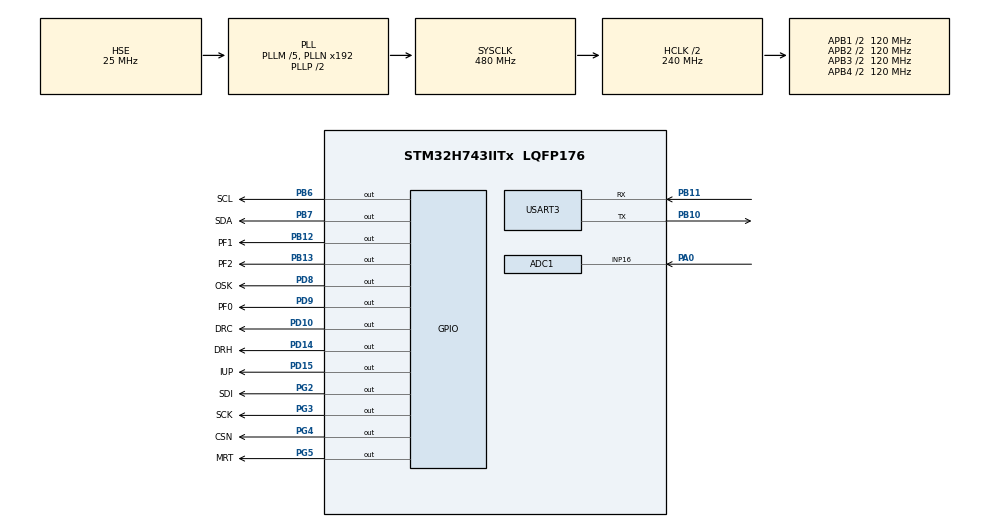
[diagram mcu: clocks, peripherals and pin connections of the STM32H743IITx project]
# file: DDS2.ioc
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ADC1.Channel-1\#ChannelRegularConversion=ADC_CHANNEL_16
ADC1.ConversionDataManagement=ADC_CONVERSIONDATA_DMA_ONESHOT
ADC1.ExternalTrigConv=ADC_EXTERNALTRIG_T3_TRGO
ADC1.NbrOfConversionFlag=1
ADC1.OffsetNumber-1\#ChannelRegularConversion=ADC_OFFSET_NONE
ADC1.OffsetSignedSaturation-1\#ChannelRegularConversion=DISABLE
ADC1.Rank-1\#ChannelRegularConversion=1
ADC1.SamplingTime-1\#ChannelRegularConversion=ADC_SAMPLETIME_1CYCLE_5
ADC1.master=1
Dma.ADC1.1.Direction=DMA_PERIPH_TO_MEMORY
Dma.ADC1.1.EventEnable=DISABLE
Dma.ADC1.1.FIFOMode=DMA_FIFOMODE_DISABLE
Dma.ADC1.1.Instance=DMA1_Stream1
Dma.ADC1.1.MemDataAlignment=DMA_MDATAALIGN_HALFWORD
Dma.ADC1.1.MemInc=DMA_MINC_ENABLE
Dma.ADC1.1.Mode=DMA_NORMAL
Dma.ADC1.1.PeriphDataAlignment=DMA_PDATAALIGN_HALFWORD
Dma.ADC1.1.PeriphInc=DMA_PINC_DISABLE
Dma.ADC1.1.Polarity=HAL_DMAMUX_REQ_GEN_RISING
Dma.ADC1.1.Priority=DMA_PRIORITY_LOW
Dma.ADC1.1.RequestNumber=1
Dma.ADC1.1.SignalID=NONE
Dma.ADC1.1.SyncEnable=DISABLE
Dma.ADC1.1.SyncPolarity=HAL_DMAMUX_SYNC_NO_EVENT
Dma.ADC1.1.SyncRequestNumber=1
Dma.ADC1.1.SyncSignalID=NONE
Dma.Request0=USART3_RX
Dma.Request1=ADC1
Dma.USART3_RX.0.Direction=DMA_PERIPH_TO_MEMORY
Dma.USART3_RX.0.EventEnable=DISABLE
Dma.USART3_RX.0.FIFOMode=DMA_FIFOMODE_DISABLE
Dma.USART3_RX.0.Instance=DMA1_Stream0
Dma.USART3_RX.0.MemDataAlignment=DMA_MDATAALIGN_BYTE
Dma.USART3_RX.0.MemInc=DMA_MINC_ENABLE
Dma.USART3_RX.0.Mode=DMA_NORMAL
Dma.USART3_RX.0.PeriphDataAlignment=DMA_PDATAALIGN_BYTE
Dma.USART3_RX.0.PeriphInc=DMA_PINC_DISABLE
Dma.USART3_RX.0.Polarity=HAL_DMAMUX_REQ_GEN_RISING
Dma.USART3_RX.0.Priority=DMA_PRIORITY_LOW
Dma.USART3_RX.0.RequestNumber=1
Dma.USART3_RX.0.SignalID=NONE
Dma.USART3_RX.0.SyncEnable=DISABLE
Dma.USART3_RX.0.SyncPolarity=HAL_DMAMUX_SYNC_NO_EVENT
Dma.USART3_RX.0.SyncRequestNumber=1
Dma.USART3_RX.0.SyncSignalID=NONE
Mcu.Family=STM32H7
Mcu.Name=STM32H743IITx
Mcu.Package=LQFP176
NVIC.DMA1_Stream0_IRQn=true\:0\:0\:false\:false\:true\:false\:true\:true
NVIC.DMA1_Stream1_IRQn=true\:0\:0\:false\:false\:true\:false\:true\:true
NVIC.PriorityGroup=NVIC_PRIORITYGROUP_4
NVIC.USART3_IRQn=true\:0\:0\:false\:false\:true\:true\:true\:true
PA0.Mode=IN16-Single-Ended
PA0.Signal=ADC1_INP16
PA13\ (JTMS/SWDIO).Mode=Serial_Wire
PA13\ (JTMS/SWDIO).Signal=DEBUG_JTMS-SWDIO
PA14\ (JTCK/SWCLK).Mode=Serial_Wire
PA14\ (JTCK/SWCLK).Signal=DEBUG_JTCK-SWCLK
PB10.Mode=Asynchronous
PB10.Signal=USART3_TX
PB11.Mode=Asynchronous
PB11.Signal=USART3_RX
PB12.GPIO_Label=PF1
PB12.GPIO_Speed=GPIO_SPEED_FREQ_HIGH
PB12.Signal=GPIO_Output
PB13.GPIO_Label=PF2
PB13.GPIO_Speed=GPIO_SPEED_FREQ_HIGH
PB13.Signal=GPIO_Output
PB6.GPIO_Label=SCL
PB6.GPIO_ModeDefaultOutputPP=GPIO_MODE_OUTPUT_OD
PB6.GPIO_PuPd=GPIO_NOPULL
PB6.GPIO_Speed=GPIO_SPEED_FREQ_HIGH
PB6.Signal=GPIO_Output
PB7.GPIO_Label=SDA
PB7.GPIO_ModeDefaultOutputPP=GPIO_MODE_OUTPUT_OD
PB7.GPIO_PuPd=GPIO_NOPULL
PB7.GPIO_Speed=GPIO_SPEED_FREQ_HIGH
PB7.Signal=GPIO_Output
PC14-OSC32_IN\ (OSC32_IN).Mode=LSE-External-Oscillator
PC14-OSC32_IN\ (OSC32_IN).Signal=RCC_OSC32_IN
PC15-OSC32_OUT\ (OSC32_OUT).Mode=LSE-External-Oscillator
PC15-OSC32_OUT\ (OSC32_OUT).Signal=RCC_OSC32_OUT
PD10.GPIO_Label=DRC
PD10.GPIO_Speed=GPIO_SPEED_FREQ_HIGH
PD10.Signal=GPIO_Output
PD14.GPIO_Label=DRH
PD14.GPIO_Speed=GPIO_SPEED_FREQ_HIGH
PD14.Signal=GPIO_Output
PD15.GPIO_Label=IUP
PD15.GPIO_Speed=GPIO_SPEED_FREQ_HIGH
PD15.Signal=GPIO_Output
PD8.GPIO_Label=OSK
PD8.GPIO_Speed=GPIO_SPEED_FREQ_HIGH
PD8.Signal=GPIO_Output
PD9.GPIO_Label=PF0
PD9.GPIO_Speed=GPIO_SPEED_FREQ_HIGH
PD9.Signal=GPIO_Output
PG2.GPIO_Label=SDI
PG2.GPIO_Speed=GPIO_SPEED_FREQ_HIGH
PG2.Signal=GPIO_Output
PG3.GPIO_Label=SCK
PG3.GPIO_Speed=GPIO_SPEED_FREQ_HIGH
PG3.Signal=GPIO_Output
PG4.GPIO_Label=CSN
PG4.GPIO_Speed=GPIO_SPEED_FREQ_HIGH
PG4.Signal=GPIO_Output
PG5.GPIO_Label=MRT
PG5.GPIO_Speed=GPIO_SPEED_FREQ_HIGH
PG5.Signal=GPIO_Output
PH0-OSC_IN\ (PH0).Mode=HSE-External-Oscillator
PH0-OSC_IN\ (PH0).Signal=RCC_OSC_IN
PH1-OSC_OUT\ (PH1).Mode=HSE-External-Oscillator
PH1-OSC_OUT\ (PH1).Signal=RCC_OSC_OUT
ProjectManager.HeapSize=0x200
ProjectManager.StackSize=0x400
ProjectManager.TargetToolchain=MDK-ARM V5.32
RCC.ADCFreq_Value=75000000
RCC.APB1Freq_Value=120000000
RCC.APB2Freq_Value=120000000
RCC.APB3Freq_Value=120000000
RCC.APB4Freq_Value=120000000
RCC.CortexFreq_Value=480000000
RCC.D1PPRE=RCC_APB3_DIV2
RCC.D2PPRE1=RCC_APB1_DIV2
RCC.D2PPRE2=RCC_APB2_DIV2
RCC.D3PPRE=RCC_APB4_DIV2
RCC.DIVM1=5
RCC.DIVM2=2
RCC.DIVN1=192
RCC.DIVN2=12
RCC.HCLKFreq_Value=240000000
RCC.HPRE=RCC_HCLK_DIV2
RCC.PLL2FRACN=0
RCC.PLL3FRACN=0
RCC.PLLFRACN=0
RCC.PLLSourceVirtual=RCC_PLLSOURCE_HSE
RCC.SYSCLKFreq_VALUE=480000000
RCC.SYSCLKSource=RCC_SYSCLKSOURCE_PLLCLK
RCC.USBFreq_Value=480000000
TIM3.Period=10000-1
TIM3.TIM_MasterOutputTrigger=TIM_TRGO_UPDATE
USART3.VirtualMode-Asynchronous=VM_ASYNC
VP_MEMORYMAP_VS_MEMORYMAP.Mode=CurAppReg
VP_TIM3_VS_ClockSourceINT.Mode=Internal
board=custom

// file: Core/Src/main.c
/* USER CODE BEGIN Header */
/**
  ******************************************************************************
  * @file           : main.c
  * @brief          : Main program body
  ******************************************************************************
  * @attention
  *
  * Copyright (c) 2025 STMicroelectronics.
  * All rights reserved.
  *
  * This software is licensed under terms that can be found in the LICENSE file
  * in the root directory of this software component.
  * If no LICENSE file comes with this software, it is provided AS-IS.
  *
  ******************************************************************************
  */
/* USER CODE END Header */
#include "main.h"
#include "adc.h"
#include "dma.h"
#include "memorymap.h"
#include "tim.h"
#include "usart.h"
#include "gpio.h"

/* USER CODE BEGIN Includes */
#include "MyFunction.h"
#include "SI5351.h"
#include "ADCFunction.h"

/* USER CODE END Includes */

/* USER CODE BEGIN PV */

#define maxlen 20
uint8_t rx_buffer[maxlen]={0}; // 接收缓冲区
uint8_t rx_flag = 0; // 接收标志位
uint8_t ChangeFlag = 0; // 修改标志位
uint8_t StepFlag = 0; // 步进率标志位
uint8_t StepRateFlag = 0; // 是否进行扫频标志位
uint8_t SquareStepRate[3];
uint8_t SineStepRate[3];
uint8_t ADCIRQflag = 0;
uint8_t IRQflag = 0;
extern volatile uint8_t ChangeSamp;
//012方波 345正弦波

uint8_t WAVETYPE = 1;
float FREQ = 2000;
int DUTY = 50;
float AMP = 718;
extern float W;
extern double Volt;
extern double HighV,LowV;
#define ADC_LEN 1024
extern uint16_t ADC_Buffer[];
extern double Volt_Buffer[];
/* USER CODE END PV */

void SystemClock_Config(void);

int main(void)
{

  /* MCU Configuration--------------------------------------------------------*/

  /* Reset of all peripherals, Initializes the Flash interface and the Systick. */
  HAL_Init();

  /* Configure the system clock */
  SystemClock_Config();

  /* Initialize all configured peripherals */
  MX_GPIO_Init();
  MX_DMA_Init();
  MX_USART3_UART_Init();
  MX_TIM3_Init();
  MX_ADC1_Init();
  /* USER CODE BEGIN 2 */

	AD9910_Init();
  //AD9910_RAM_PLO_WAVE_Set(SINC_WAVE);
  //AD9910_Wave_Set(WAVETYPE,FREQ,DUTY,AMP);
	AD9910_Wave_Set(0,2000,50,718);
  HAL_UARTEx_ReceiveToIdle_DMA(&huart3, rx_buffer, maxlen); // 开启一次中断接收

  HAL_TIM_Base_Start(&htim3);
	HAL_ADCEx_Calibration_Start(&hadc1, ADC_CALIB_OFFSET, ADC_SINGLE_ENDED);
	HAL_ADC_Start_DMA(&hadc1,(uint32_t*)ADC_Buffer,ADC_LEN);

  /* USER CODE END 2 */

  /* Infinite loop */
  /* USER CODE BEGIN WHILE */
  while (1)
  {
		 if(ChangeFlag == 1)
    {
      ChangeFlag = 0;
			ProcessData();
      memset(rx_buffer,0,sizeof(rx_buffer));
    }

    if(StepFlag == 1)
    {
      StepFlag = 0;
      Set_StepRate();
    }

    if(StepRateFlag == 1)
    {
      StepRateFlag = 0;
      AD9910_Wave_Sweep();
    }
    if(ADCIRQflag ==1)
    {

       ChangeSamplingTime();
    }

    /* USER CODE END WHILE */

  }
}

void SystemClock_Config(void)
{
  RCC_OscInitTypeDef RCC_OscInitStruct = {0};
  RCC_ClkInitTypeDef RCC_ClkInitStruct = {0};

  /** Supply configuration update enable
  */
  HAL_PWREx_ConfigSupply(PWR_LDO_SUPPLY);

  /** Configure the main internal regulator output voltage
  */
  __HAL_PWR_VOLTAGESCALING_CONFIG(PWR_REGULATOR_VOLTAGE_SCALE1);

  while(!__HAL_PWR_GET_FLAG(PWR_FLAG_VOSRDY)) {}

  __HAL_RCC_SYSCFG_CLK_ENABLE();
  __HAL_PWR_VOLTAGESCALING_CONFIG(PWR_REGULATOR_VOLTAGE_SCALE0);

  while(!__HAL_PWR_GET_FLAG(PWR_FLAG_VOSRDY)) {}

  /** Initializes the RCC Oscillators according to the specified parameters
  * in the RCC_OscInitTypeDef structure.
  */
  RCC_OscInitStruct.OscillatorType = RCC_OSCILLATORTYPE_HSE;
  RCC_OscInitStruct.HSEState = RCC_HSE_ON;
  RCC_OscInitStruct.PLL.PLLState = RCC_PLL_ON;
  RCC_OscInitStruct.PLL.PLLSource = RCC_PLLSOURCE_HSE;
  RCC_OscInitStruct.PLL.PLLM = 5;
  RCC_OscInitStruct.PLL.PLLN = 192;
  RCC_OscInitStruct.PLL.PLLP = 2;
  RCC_OscInitStruct.PLL.PLLQ = 2;
  RCC_OscInitStruct.PLL.PLLR = 2;
  RCC_OscInitStruct.PLL.PLLRGE = RCC_PLL1VCIRANGE_2;
  RCC_OscInitStruct.PLL.PLLVCOSEL = RCC_PLL1VCOWIDE;
  RCC_OscInitStruct.PLL.PLLFRACN = 0;
  if (HAL_RCC_OscConfig(&RCC_OscInitStruct) != HAL_OK)
  {
    Error_Handler();
  }

  /** Initializes the CPU, AHB and APB buses clocks
  */
  RCC_ClkInitStruct.ClockType = RCC_CLOCKTYPE_HCLK|RCC_CLOCKTYPE_SYSCLK
                              |RCC_CLOCKTYPE_PCLK1|RCC_CLOCKTYPE_PCLK2
                              |RCC_CLOCKTYPE_D3PCLK1|RCC_CLOCKTYPE_D1PCLK1;
  RCC_ClkInitStruct.SYSCLKSource = RCC_SYSCLKSOURCE_PLLCLK;
  RCC_ClkInitStruct.SYSCLKDivider = RCC_SYSCLK_DIV1;
  RCC_ClkInitStruct.AHBCLKDivider = RCC_HCLK_DIV2;
  RCC_ClkInitStruct.APB3CLKDivider = RCC_APB3_DIV2;
  RCC_ClkInitStruct.APB1CLKDivider = RCC_APB1_DIV2;
  RCC_ClkInitStruct.APB2CLKDivider = RCC_APB2_DIV2;
  RCC_ClkInitStruct.APB4CLKDivider = RCC_APB4_DIV2;

  if (HAL_RCC_ClockConfig(&RCC_ClkInitStruct, FLASH_LATENCY_4) != HAL_OK)
  {
    Error_Handler();
  }
}

/* USER CODE BEGIN 4 */
void HAL_UARTEx_RxEventCallback(UART_HandleTypeDef *huart, uint16_t Size) // 中断接收回调函数
{
  if (huart->Instance == USART3) // 判断串口
  {
		IRQflag = 0;
    if(rx_buffer[0]==0x55)//静止修改
    {
      ChangeFlag = 1; // 修改标志位置1
    }
    if(rx_buffer[0]==0xAA)//设了步进率
    {
      StepFlag = 1;
    }
    if(rx_buffer[0]==0xFF)//按下向上或向下扫频
    {
      StepRateFlag = 1; // 扫频标志位置1
    }
		if(rx_buffer[0]==0xEE)//按下向上或向下扫频
    {
      W = 3*AMP*(HighV - LowV)/15/56;
			printf("page1.t2.txt=\"%.3fW\"\xff\xff\xff",W);
    }

    HAL_UARTEx_ReceiveToIdle_DMA(&huart3, rx_buffer, maxlen); // 开启一次中断接收
  }
}
/* USER CODE END 4 */

void Error_Handler(void)
{
  __disable_irq();
  while (1)
  {
  }
}
